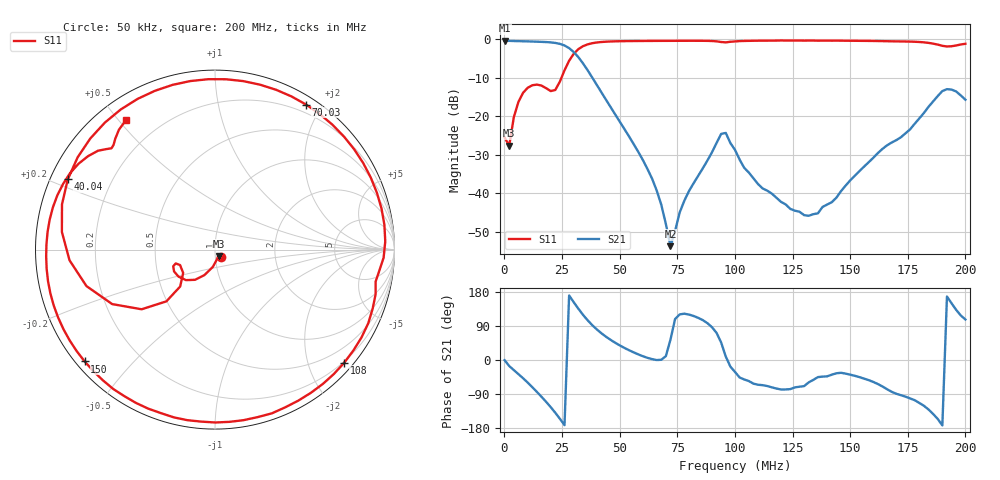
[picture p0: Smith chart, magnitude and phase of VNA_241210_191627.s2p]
!File created by NanoVNA
# Hz S RI R 50
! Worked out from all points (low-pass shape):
!   101 points, 50 kHz to 200 MHz, reference 50 ohm
!   highest |S21| = -0.39 dB at 50 kHz (marker M1); lowest = -53.7 dB at 72.03 MHz (marker M2)
!   |S21| within 3 dB of the highest: start of sweep to 30.17 MHz
!   lowest |S11| = -27.6 dB at 2.05 MHz (marker M3), VSWR 1.09, Z = 52 - j3.75 ohm
!   |S11| at or under -10 dB: start of sweep to 24.71 MHz
!   S12 and S22 are empty: the file has one direction only
!   S11 on the Smith chart (normalised r, x): 50 kHz: 1.07, -0.09; 40.04 MHz: 0.05, +0.23; 70.03 MHz: 0.10, +1.80; 108 MHz: 0.18, -2.65; 150 MHz: 0.03, -0.37; 200 MHz: 0.09, +0.52
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50000  0.035 -0.0401  0.956 -0.00707  0 0  0 0
2049500  0.0209 -0.036  0.9179 -0.2617  0 0  0 0
8048000  -0.1113 -0.1683  0.6305 -0.7011  0 0  0 0
1.6046e7  -0.2328 -0.0931  -0.1115 -0.9193  0 0  0 0
2.20445e7  -0.1773 -0.13  -0.6788 -0.5864  0 0  0 0
2.60435e7  -0.2709 -0.2883  -0.8228 -0.1155  0 0  0 0
3.00425e7  -0.5729 -0.3036  -0.6064 0.3153  0 0  0 0
3.40415e7  -0.8107 -0.0592  -0.2398 0.4251  0 0  0 0
4.004e7  -0.8202 0.3918  0.0408 0.2533  0 0  0 0
5.40365e7  -0.2361 0.9179  0.0495 0.024  0 0  0 0
6.8033e7  0.4261 0.8534  0.00714 6.68e-05  0 0  0 0
7.00325e7  0.5075 0.8081  0.00394 0.000717  0 0  0 0
7.2032e7  0.5836 0.7554  0.00122 0.00167  0 0  0 0
7.80305e7  0.7755 0.5588  -0.00428 0.00679  0 0  0 0
9.40265e7  0.9133 -0.1241  0.0411 0.0427  0 0  0 0
1.00025e8  0.8786 -0.3286  0.0313 -0.0192  0 0  0 0
1.08023e8  0.7203 -0.6297  0.00728 -0.0139  0 0  0 0
1.340165e8  -0.2292 -0.9347  0.00328 -0.00427  0 0  0 0
1.500125e8  -0.7261 -0.6232  0.0115 -0.00923  0 0  0 0
1.68008e8  -0.9406 -0.0385  0.00487 -0.0455  0 0  0 0
1.900025e8  -0.6021 0.5606  -0.2112 -0.0271  0 0  0 0
2e8  -0.4969 0.7197  -0.048 0.1574  0 0  0 0
